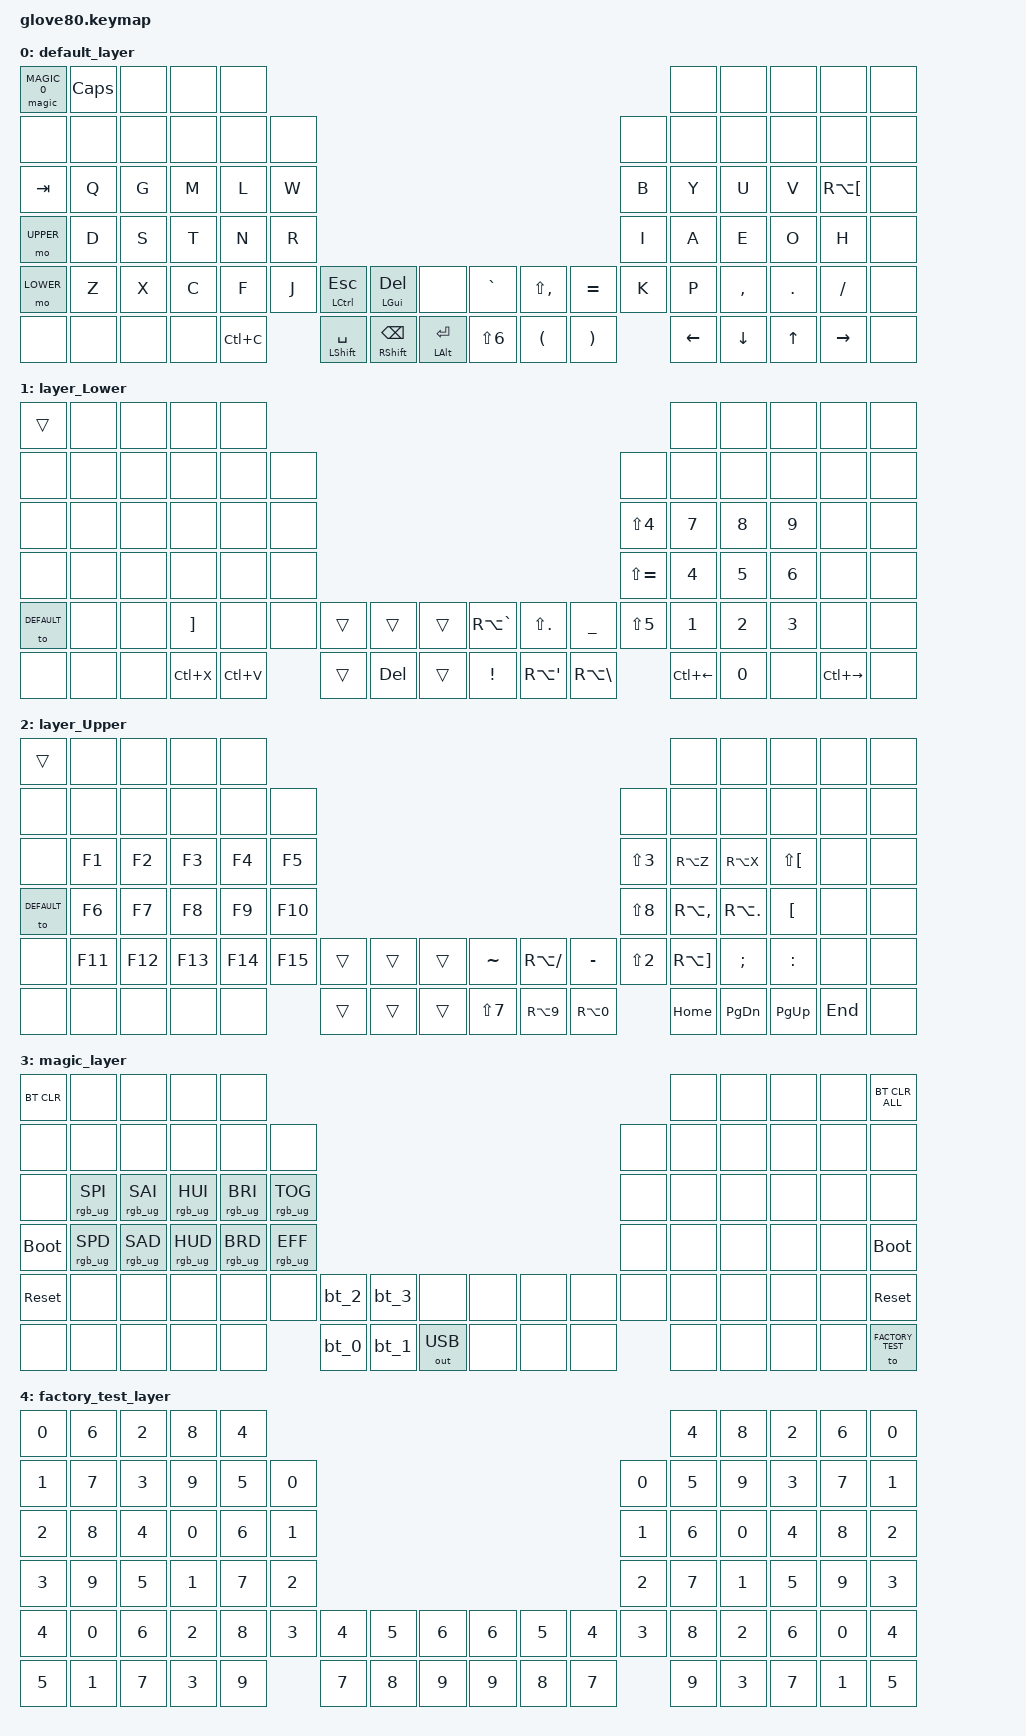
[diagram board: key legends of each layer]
#include <behaviors.dtsi>
#include <dt-bindings/zmk/keys.h>
#include <dt-bindings/zmk/bt.h>
#include <dt-bindings/zmk/ext_power.h>
#include <dt-bindings/zmk/outputs.h>
#include <dt-bindings/zmk/rgb.h>

#define HYPER LC(LS(LG(LALT)))

// layers
#define DEFAULT 0
#define LOWER 1
#define UPPER 2
#define MAGIC 3
#define FACTORY_TEST 4

/ {
    behaviors {
        #include "dtsi/behaviors.dtsi"
    };

    macros {
        #include "dtsi/macros.dtsi"
    };

    keymap {
        compatible = "zmk,keymap";

    default_layer {
        // ------------------------------------------------------------------------------------------------------------------------------------------------------------------
        //      | MAGIC | CAPS |      |    |      |                                                                                                               |      |       |     |       |      |
        //      |       |      |      |    |      |   |                                                                                                       |   |      |       |     |       |      |
        //      |  TAB  |  Q   |   G  | M  | L    | W |                                                                                                       | B |   Y  |   U   |  V  |   `   |      |
        //      | UPPER |  D   |   S  | T  | N    | R |                                                                                                       | I |   A  |   E   |  O  |   H   |      |
        //      | LOWER |  Z   |   X  | C  | F    | J |                            |  |  |  |                             |  /  |  '  |  =  |                 | K |   P  |   ,   |  .  |   é   |      |
        //      |       |      |      |    | copy |                                |  |  |  |                             |  ?  |  (  |  )  |                     | left |  down | up  | right |      |

        bindings = <
            &magic MAGIC 0 &kp CAPS &none    &none  &none                                                                                                       &none    &none     &none     &none        &none
            &none          &none    &none    &none  &none     &none                                                                                       &none &none    &none     &none     &none        &none
            &kp TAB        &kp Q    &kp G    &kp M  &kp L     &kp W                                                                                       &kp B &kp Y    &kp U     &kp V     &kp RA(LBKT) &none
            &mo UPPER      &kp D    &kp S    &kp T  &kp N     &kp R                                                                                       &kp I &kp A    &kp E     &kp O     &kp H        &none
            &mo LOWER      &kp Z    &kp X    &kp C  &kp F     &kp J   &mt LCTRL ESC    &mt LGUI DEL   &none          &kp GRAVE  &kp LS(COMMA) &kp EQUAL   &kp K &kp P    &kp COMMA &kp DOT   &kp FSLH     &none
            &none          &none    &none    &none  &kp LC(C)         &mt LSHFT SPACE  &mt RSHFT BKSP &mt LALT RET   &kp LS(N6) &kp LPAR      &kp RPAR          &kp LEFT &kp DOWN  &kp UP    &kp RIGHT    &none
        >;
    }; 

    layer_Lower {
        // -----------------------------------------------------------------------------------------------------------------------------------------------------------------
        //          |  |  |  |     |          |                                                                                                 |             |   |   |              |  |
        //          |  |  |  |     |          |  |                                                                                          |   |             |   |   |              |  |
        //          |  |  |  |     |          |  |                                                                                          | $ |      7      | 8 | 9 |              |  |
        //          |  |  |  |     |          |  |                                                                                          | + |      4      | 5 | 6 |              |  |
        //          |  |  |  | ç   |          |  |                      |  |  |  |              |  \  |  "  |  _  |                         | % |      1      | 2 | 3 |              |  |
        //          |  |  |  | cut | paste |                            |  |  |  |              |  !  |  {  |  }  |                            | ctrl + left | 0 |   | ctrl + right |  |



        bindings = <
            &trans      &none &none     &none     &none                                                                                          &none         &none  &none  &none         &none
            &none       &none &none     &none     &none     &none                                                                  &none         &none         &none  &none  &none         &none
            &none       &none &none     &none     &none     &none                                                                  &kp LS(N4)    &kp N7        &kp N8 &kp N9 &none         &none
            &none       &none &none     &none     &none     &none                                                                  &kp LS(EQUAL) &kp N4        &kp N5 &kp N6 &none         &none
            &to DEFAULT &none &none     &kp RBKT  &none     &none   &trans &trans  &trans   &kp RA(GRAVE) &kp LS(DOT) &kp UNDER     &kp LS(N5)    &kp N1        &kp N2 &kp N3 &none         &none
            &none       &none &none     &kp LC(X) &kp LC(V)         &trans &kp DEL &trans   &kp EXCL      &kp RA(SQT) &kp RA(BSLH)                &kp LC(LEFT)  &kp N0 &none  &kp LC(RIGHT) &none
        >;
    };    
    
    layer_Upper {
        // -----------------------------------------------------------------------------------------------------------------------------------------------------------------
        //                       |     |     |     |     |     |                                                                                          |      |           |         |     |   |
        //                       |     |     |     |     |     |     |                                                                                |   |      |           |         |     |   |
        //                       |     | f1  | f2  | f3  | f4  | f5  |                                                                                | # |   «  |     »     |    ¨    |     |   |
        //                       |     | f6  | f7  | f8  | f9  | f10 |                                                                                | * |   <  |     >     |    ^    |     |   |
        //                       |     | f11 | f12 | f13 | f14 | f15 |                       |  |  |  |        |  |  |  `  |  -  |                    | @ |   ~  |     ;     |    :    |     |   |
        //                       |     |     |     |     |     |                             |  |  |  |        |  &  |  [  |  ]  |                        | home | page down | page up | end |   |

        bindings = <
            &trans      &none      &none      &none      &none                                                                                                   &none         &none       &none        &none   &none
            &none       &none      &none      &none      &none      &none                                                                             &none      &none         &none       &none        &none   &none
            &none       &kp F1     &kp F2     &kp F3     &kp F4     &kp F5                                                                            &kp LS(N3) &kp RA(Z)     &kp RA(X)   &kp LS(LBKT) &none   &none
            &to DEFAULT &kp F6     &kp F7     &kp F8     &kp F9     &kp F10                                                                           &kp LS(N8) &kp RA(COMMA) &kp RA(DOT) &kp LBKT     &none   &none
            &none       &kp F11    &kp F12    &kp F13    &kp F14    &kp F15      &trans &trans &trans       &kp TILDE  &kp RA(SLASH) &kp MINUS        &kp LS(N2) &kp RA(RBKT)  &kp SEMI    &kp COLON    &none   &none
            &none       &none      &none      &none      &none                   &trans &trans &trans       &kp LS(N7) &kp RA(N9)    &kp RA(N0)                  &kp HOME      &kp PG_DN   &kp PG_UP    &kp END &none
        >;
    };

    magic_layer {
    // -----------------------------------------------------------------------------------------------------------------------------------------------------------------
        bindings = <
        &bt BT_CLR        &none               &none           &none           &none                                                                                                           &none      &none      &none      &none      &bt BT_CLR_ALL
        &none             &none               &none           &none           &none           &none                                                                                &none      &none      &none      &none      &none      &none
        &none             &rgb_ug RGB_SPI     &rgb_ug RGB_SAI &rgb_ug RGB_HUI &rgb_ug RGB_BRI &rgb_ug RGB_TOG                                                                      &none      &none      &none      &none      &none      &none
        &bootloader       &rgb_ug RGB_SPD     &rgb_ug RGB_SAD &rgb_ug RGB_HUD &rgb_ug RGB_BRD &rgb_ug RGB_EFF                                                                      &none      &none      &none      &none      &none      &bootloader
        &sys_reset        &none               &none           &none           &none           &none           &bt_2     &bt_3     &none            &none     &none     &none       &none      &none      &none      &none      &none      &sys_reset
        &none             &none               &none           &none           &none                           &bt_0     &bt_1     &out OUT_USB     &none     &none     &none                  &none      &none      &none      &none      &to FACTORY_TEST
        >;
    };

    factory_test_layer {
        bindings = <
        &kp N0   &kp N6   &kp N2   &kp N8   &kp N4                                                                              &kp N4   &kp N8   &kp N2   &kp N6   &kp N0
        &kp N1   &kp N7   &kp N3   &kp N9   &kp N5   &kp N0                                                            &kp N0   &kp N5   &kp N9   &kp N3   &kp N7   &kp N1
        &kp N2   &kp N8   &kp N4   &kp N0   &kp N6   &kp N1                                                            &kp N1   &kp N6   &kp N0   &kp N4   &kp N8   &kp N2
        &kp N3   &kp N9   &kp N5   &kp N1   &kp N7   &kp N2                                                            &kp N2   &kp N7   &kp N1   &kp N5   &kp N9   &kp N3
        &kp N4   &kp N0   &kp N6   &kp N2   &kp N8   &kp N3   &kp N4   &kp N5   &kp N6      &kp N6   &kp N5   &kp N4   &kp N3   &kp N8   &kp N2   &kp N6   &kp N0   &kp N4
        &kp N5   &kp N1   &kp N7   &kp N3   &kp N9            &kp N7   &kp N8   &kp N9      &kp N9   &kp N8   &kp N7            &kp N9   &kp N3   &kp N7   &kp N1   &kp N5
        >;
    };
    };
};
